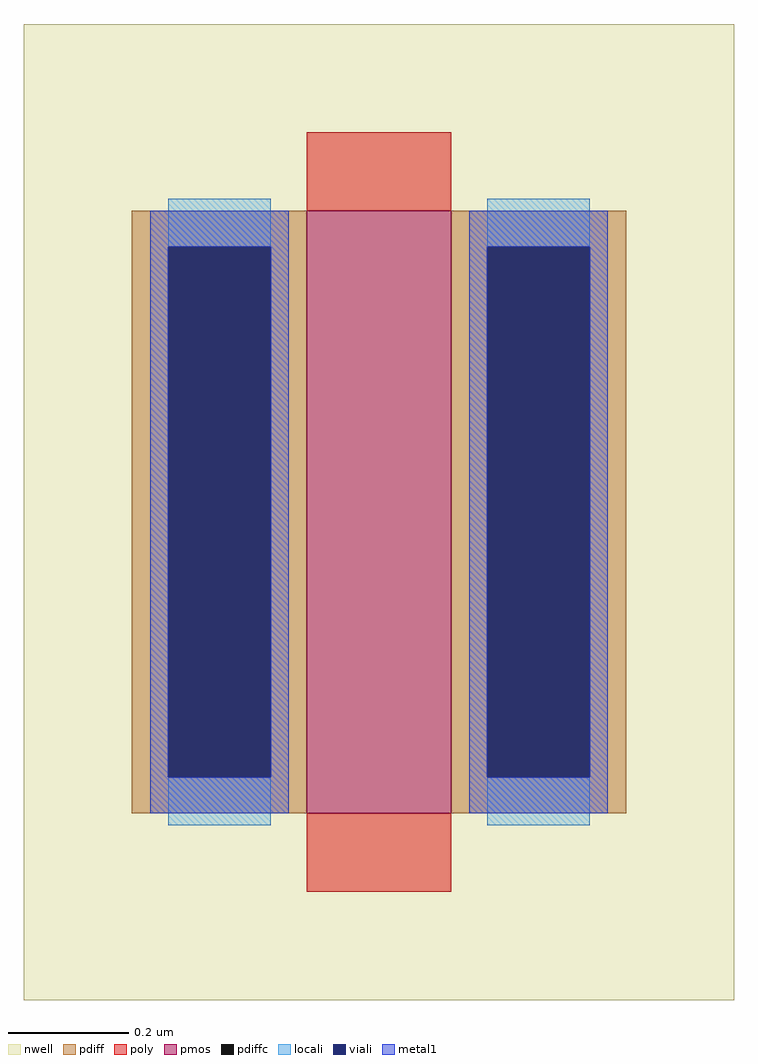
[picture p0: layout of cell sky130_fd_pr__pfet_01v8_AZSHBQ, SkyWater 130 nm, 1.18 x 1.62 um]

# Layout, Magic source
magic
tech sky130A
<< nwell >>
rect -59 -81 59 81
<< pmos >>
rect -12 -50 12 50
<< pdiff >>
rect -41 44 -12 50
rect -41 -44 -35 44
rect -18 -44 -12 44
rect -41 -50 -12 -44
rect 12 44 41 50
rect 12 -44 18 44
rect 35 -44 41 44
rect 12 -50 41 -44
<< pdiffc >>
rect -35 -44 -18 44
rect 18 -44 35 44
<< poly >>
rect -12 50 12 63
rect -12 -63 12 -50
<< locali >>
rect -35 44 -18 52
rect -35 -52 -18 -44
rect 18 44 35 52
rect 18 -52 35 -44
<< viali >>
rect -35 -44 -18 44
rect 18 -44 35 44
<< metal1 >>
rect -38 44 -15 50
rect -38 -44 -35 44
rect -18 -44 -15 44
rect -38 -50 -15 -44
rect 15 44 38 50
rect 15 -44 18 44
rect 35 -44 38 44
rect 15 -50 38 -44
<< properties >>
string gencell sky130_fd_pr__pfet_01v8
string library sky130
string parameters w 1 l 0.24 m 1 nf 1 diffcov 100 polycov 100 guard 0 glc 0 grc 0 gtc 0 gbc 0 tbcov 100 rlcov 100 topc 0 botc 0 poverlap 0 doverlap 0 lmin 0.15 wmin 0.42 compatible {sky130_fd_pr__pfet_01v8  sky130_fd_pr__pfet_01v8_lvt sky130_fd_pr__pfet_01v8_hvt  sky130_fd_pr__pfet_g5v0d10v5} full_metal 0 viasrc 100 viadrn 100 viagate 100 viagb 0 viagr 0 viagl 0 viagt 0
<< end >>
